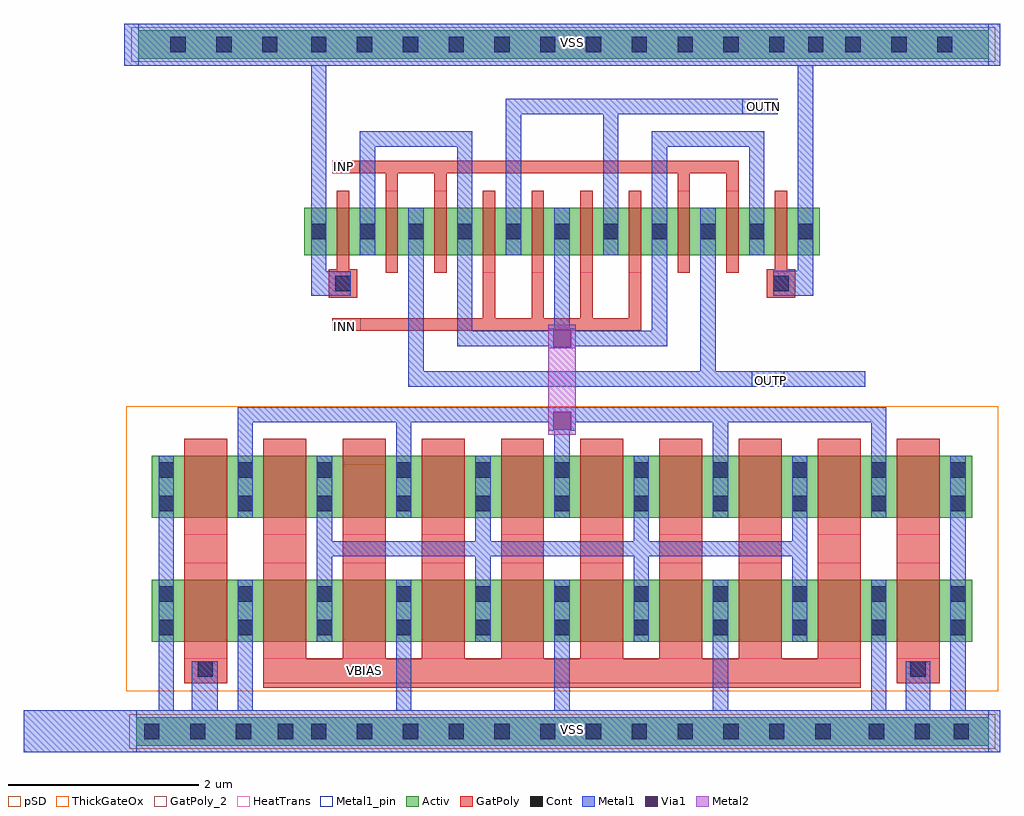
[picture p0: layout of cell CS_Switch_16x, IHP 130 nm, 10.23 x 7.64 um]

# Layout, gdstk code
import gdstk
lib = gdstk.Library(unit=1e-6, precision=1e-09)
def R(c, l, rs):  # rectangles x0, y0, x1, y1
    for r in rs: c.add(gdstk.rectangle(r[:2], r[2:], *l))
def A(c, l, x, y, w, h, nx, ny, dx, dy):  # array of equal rectangles
    R(c, l, [(x+i*dx, y+j*dy, x+i*dx+w, y+j*dy+h) for i in range(nx) for j in range(ny)])
def P(c, l, *ps):  # polygons
    for p in ps: c.add(gdstk.Polygon(p, *l))
Activ = (1, 0)
GatPoly = (5, 0)
GatPoly_2 = (5, 2)
Cont = (6, 0)
Metal1 = (8, 0)
Metal1_pin = (8, 2)
Metal2 = (10, 0)
pSD = (14, 0)
Via1 = (19, 0)
ThickGateOx = (44, 0)
HeatTrans = (51, 0)

nmos = lib.new_cell('nmos')
A(nmos, Activ, 0, 0, 0.3, 0.3, 3, 1, 0.51, 0)
R(nmos, Activ, [(0,0,1.32,0.5)])
R(nmos, GatPoly, [(0.34,-0.18,0.47,0.68), (0.85,-0.18,0.98,0.68)])
R(nmos, GatPoly_2, [(0.34,-0.18,0.47,0.68)])
A(nmos, Cont, 0.07, 0.17, 0.16, 0.16, 3, 1, 0.51, 0)
A(nmos, Metal1, 0.07, 0, 0.16, 0.5, 3, 1, 0.51, 0)
R(nmos, Metal1_pin, [(0.07,0,0.23,0.5), (0.58,0,0.74,0.5)])
R(nmos, HeatTrans, [(0.34,-0.18,0.47,0.68), (0.85,-0.18,0.98,0.68)])
nmos.add(gdstk.Label('nmos', (0.405,0.25), layer=63, texttype=0))
nmos.add(gdstk.Label('nmos', (0.405,0.25), layer=51, texttype=0))
nmos.add(gdstk.Label('nmos', (0.915,0.25), layer=51, texttype=0))

nmos_1 = lib.new_cell('nmos$1')
R(nmos_1, Activ, [(0,0,0.3,0.3), (0,0,0.81,0.5), (0.51,0,0.81,0.3)])
R(nmos_1, GatPoly, [(0.34,-0.18,0.47,0.68)])
R(nmos_1, GatPoly_2, [(0.34,-0.18,0.47,0.68)])
R(nmos_1, Cont, [(0.07,0.17,0.23,0.33), (0.58,0.17,0.74,0.33)])
R(nmos_1, Metal1, [(0.07,0,0.23,0.5), (0.58,0,0.74,0.5)])
R(nmos_1, Metal1_pin, [(0.07,0,0.23,0.5), (0.58,0,0.74,0.5)])
R(nmos_1, HeatTrans, [(0.34,-0.18,0.47,0.68)])
nmos_1.add(gdstk.Label('nmos', (0.405,0.25), layer=63, texttype=0))
nmos_1.add(gdstk.Label('nmos', (0.405,0.25), layer=51, texttype=0))

via_stack = lib.new_cell('via_stack')
R(via_stack, Metal1, [(-0.145,-0.105,0.145,0.105)])
R(via_stack, Metal2, [(-0.145,-0.1,0.145,0.1)])
R(via_stack, Via1, [(-0.095,-0.095,0.095,0.095)])

nmoshv_1 = lib.new_cell('nmosHV$1')
A(nmoshv_1, Activ, 0, 0, 0.3, 0.3, 9, 1, 0.83, 0)
R(nmoshv_1, Activ, [(0,0,6.94,0.65)])
A(nmoshv_1, GatPoly, 0.34, -0.18, 0.45, 1.01, 8, 1, 0.83, 0)
R(nmoshv_1, GatPoly_2, [(0.34,-0.18,0.79,0.83)])
A(nmoshv_1, Cont, 0.07, 0.07, 0.16, 0.16, 9, 2, 0.83, 0.35)
A(nmoshv_1, Metal1, 0.07, 0, 0.16, 0.65, 9, 1, 0.83, 0)
R(nmoshv_1, Metal1_pin, [(0.07,0,0.23,0.65), (0.9,0,1.06,0.65)])
R(nmoshv_1, ThickGateOx, [(-0.27,-0.52,7.21,1.17)])
A(nmoshv_1, HeatTrans, 0.34, -0.18, 0.45, 1.01, 8, 1, 0.83, 0)
nmoshv_1.add(gdstk.Label('nmosHV', (0.565,0.325), layer=63, texttype=0))
nmoshv_1.add(gdstk.Label('nmosHV', (0.565,0.325), layer=51, texttype=0))
nmoshv_1.add(gdstk.Label('nmosHV', (1.395,0.325), layer=51, texttype=0))
nmoshv_1.add(gdstk.Label('nmosHV', (2.225,0.325), layer=51, texttype=0))
nmoshv_1.add(gdstk.Label('nmosHV', (3.055,0.325), layer=51, texttype=0))
nmoshv_1.add(gdstk.Label('nmosHV', (3.885,0.325), layer=51, texttype=0))
nmoshv_1.add(gdstk.Label('nmosHV', (4.715,0.325), layer=51, texttype=0))
nmoshv_1.add(gdstk.Label('nmosHV', (5.545,0.325), layer=51, texttype=0))
nmoshv_1.add(gdstk.Label('nmosHV', (6.375,0.325), layer=51, texttype=0))

nmoshv = lib.new_cell('nmosHV')
R(nmoshv, Activ, [(0,0,0.3,0.3), (0,0,1.13,0.65), (0.83,0,1.13,0.3)])
R(nmoshv, GatPoly, [(0.34,-0.18,0.79,0.83)])
R(nmoshv, GatPoly_2, [(0.34,-0.18,0.79,0.83)])
R(nmoshv, Cont, [(0.07,0.07,0.23,0.23), (0.9,0.07,1.06,0.23), (0.07,0.42,0.23,0.58), (0.9,0.42,1.06,0.58)])
R(nmoshv, Metal1, [(0.07,0,0.23,0.65), (0.9,0,1.06,0.65)])
R(nmoshv, Metal1_pin, [(0.07,0,0.23,0.65), (0.9,0,1.06,0.65)])
R(nmoshv, ThickGateOx, [(-0.27,-0.52,1.4,1.17)])
R(nmoshv, HeatTrans, [(0.34,-0.18,0.79,0.83)])
nmoshv.add(gdstk.Label('nmosHV', (0.565,0.325), layer=63, texttype=0))
nmoshv.add(gdstk.Label('nmosHV', (0.565,0.325), layer=51, texttype=0))

cs_switch_16x = lib.new_cell('CS_Switch_16x')
R(cs_switch_16x, Activ, [(3.495,14.81,12.43,15.11), (3.495,14.81,12.43,15.11), (3.495,14.81,12.43,15.11), (3.495,14.81,12.43,15.11), (3.515,22.01,12.43,22.31), (3.515,22.01,12.43,22.31), (3.515,22.01,12.43,22.31), (3.515,22.01,12.43,22.31)])
R(cs_switch_16x, GatPoly, [(4.83,15.42,5.66,15.72), (5.66,15.42,11.09,15.72), (4,15.465,4.45,18.03), (4,15.465,4.45,18.03), (4,15.465,4.45,18.03), (4,15.465,4.45,18.03), (4.83,15.465,5.66,15.72), (4.83,15.465,5.66,15.72), (4.83,15.465,5.66,15.72), (5.66,15.465,11.09,15.72), (5.66,15.465,11.09,15.72), (5.66,15.465,11.09,15.72), (11.47,15.465,11.92,18.03), (11.47,15.465,11.92,18.03), (11.47,15.465,11.92,18.03), (11.47,15.465,11.92,18.03), (4,15.52,4.45,15.72), (4,15.52,4.45,15.72), (4,15.52,4.45,15.72), (4,15.52,4.45,15.72), (4.83,15.52,5.28,17.755), (4.83,15.52,5.28,17.755), (4.83,15.52,5.28,17.755), (4.83,15.52,5.28,17.755), (5.66,15.52,6.11,17.76), (5.66,15.52,6.11,17.76), (5.66,15.52,6.11,17.76), (5.66,15.52,6.11,17.76), (6.49,15.52,6.94,17.755), (6.49,15.52,6.94,17.755), (6.49,15.52,6.94,17.755), (6.49,15.52,6.94,17.755), (7.32,15.52,7.77,17.755), (7.32,15.52,7.77,17.755), (7.32,15.52,7.77,17.755), (7.32,15.52,7.77,17.755), (8.15,15.52,8.6,17.755), (8.15,15.52,8.6,17.755), (8.15,15.52,8.6,17.755), (8.15,15.52,8.6,17.755), (8.98,15.52,9.43,17.755), (8.98,15.52,9.43,17.755), (8.98,15.52,9.43,17.755), (8.98,15.52,9.43,17.755), (9.81,15.52,10.26,17.755), (9.81,15.52,10.26,17.755), (9.81,15.52,10.26,17.755), (9.81,15.52,10.26,17.755), (10.64,15.52,11.09,17.755), (10.64,15.52,11.09,17.755), (10.64,15.52,11.09,17.755), (10.64,15.52,11.09,17.755), (11.47,15.52,11.92,15.72), (11.47,15.52,11.92,15.72), (11.47,15.52,11.92,15.72), (11.47,15.52,11.92,15.72), (5.55,19.16,8.79,19.29), (5.55,19.16,8.79,19.29), (5.55,19.16,8.79,19.29), (5.55,19.16,8.79,19.29), (7.13,19.205,7.26,19.77), (7.13,19.205,7.26,19.77), (7.13,19.205,7.26,19.77), (7.13,19.205,7.26,19.77), (8.66,19.215,8.79,19.77), (8.66,19.215,8.79,19.77), (8.66,19.215,8.79,19.77), (8.66,19.215,8.79,19.77), (7.64,19.235,7.77,19.77), (7.64,19.235,7.77,19.77), (7.64,19.235,7.77,19.77), (7.64,19.235,7.77,19.77), (8.15,19.245,8.28,19.77), (8.15,19.245,8.28,19.77), (8.15,19.245,8.28,19.77), (8.15,19.245,8.28,19.77), (5.515,19.505,5.815,19.805), (5.515,19.505,5.815,19.805), (5.515,19.505,5.815,19.805), (5.515,19.505,5.815,19.805), (10.105,19.505,10.405,19.805), (10.105,19.505,10.405,19.805), (10.105,19.505,10.405,19.805), (10.105,19.505,10.405,19.805), (6.11,20.63,6.24,20.94), (6.11,20.63,6.24,20.94), (6.11,20.63,6.24,20.94), (6.11,20.63,6.24,20.94), (6.62,20.63,6.75,20.94), (6.62,20.63,6.75,20.94), (6.62,20.63,6.75,20.94), (6.62,20.63,6.75,20.94), (9.17,20.63,9.3,20.94), (9.17,20.63,9.3,20.94), (9.17,20.63,9.3,20.94), (9.17,20.63,9.3,20.94), (9.68,20.63,9.81,20.94), (9.68,20.63,9.81,20.94), (9.68,20.63,9.81,20.94), (9.68,20.63,9.81,20.94), (5.55,20.81,9.17,20.94), (5.55,20.81,9.17,20.94), (5.55,20.81,9.17,20.94), (5.55,20.81,9.17,20.94), (9.17,20.81,9.81,20.94), (9.17,20.81,9.81,20.94), (9.17,20.81,9.81,20.94), (9.17,20.81,9.81,20.94)])
R(cs_switch_16x, GatPoly_2, [(4.83,15.465,11.09,15.725), (5.66,15.52,6.11,17.76), (5.66,15.52,6.11,17.76), (5.66,15.52,6.11,17.76), (5.55,19.16,5.85,19.29), (5.55,19.16,5.85,19.29), (5.55,19.16,5.85,19.29), (5.55,19.16,5.85,19.29), (5.55,20.81,5.84,20.94), (5.55,20.81,5.84,20.94), (5.55,20.81,5.84,20.94), (5.55,20.81,5.84,20.94)])
R(cs_switch_16x, Cont, [(3.58,14.88,3.74,15.04), (3.58,14.88,3.74,15.04), (3.58,14.88,3.74,15.04), (3.58,14.88,3.74,15.04), (3.58,14.88,3.74,15.04), (3.58,14.88,3.74,15.04), (3.58,14.88,3.74,15.04), (3.58,14.88,3.74,15.04), (4.06,14.88,4.22,15.04), (4.06,14.88,4.22,15.04), (4.06,14.88,4.22,15.04), (4.06,14.88,4.22,15.04), (4.06,14.88,4.22,15.04), (4.06,14.88,4.22,15.04), (4.06,14.88,4.22,15.04), (4.06,14.88,4.22,15.04), (4.54,14.88,4.7,15.04), (4.54,14.88,4.7,15.04), (4.54,14.88,4.7,15.04), (4.54,14.88,4.7,15.04), (4.54,14.88,4.7,15.04), (4.54,14.88,4.7,15.04), (4.54,14.88,4.7,15.04), (4.54,14.88,4.7,15.04), (4.98,14.88,5.14,15.04), (4.98,14.88,5.14,15.04), (4.98,14.88,5.14,15.04), (4.98,14.88,5.14,15.04), (4.98,14.88,5.14,15.04), (4.98,14.88,5.14,15.04), (4.98,14.88,5.14,15.04), (4.98,14.88,5.14,15.04), (5.33,14.88,5.49,15.04), (5.33,14.88,5.49,15.04), (5.33,14.88,5.49,15.04), (5.33,14.88,5.49,15.04), (5.33,14.88,5.49,15.04), (5.33,14.88,5.49,15.04), (5.33,14.88,5.49,15.04), (5.33,14.88,5.49,15.04), (5.81,14.88,5.97,15.04), (5.81,14.88,5.97,15.04), (5.81,14.88,5.97,15.04), (5.81,14.88,5.97,15.04), (5.81,14.88,5.97,15.04), (5.81,14.88,5.97,15.04), (5.81,14.88,5.97,15.04), (5.81,14.88,5.97,15.04), (6.29,14.88,6.45,15.04), (6.29,14.88,6.45,15.04), (6.29,14.88,6.45,15.04), (6.29,14.88,6.45,15.04), (6.29,14.88,6.45,15.04), (6.29,14.88,6.45,15.04), (6.29,14.88,6.45,15.04), (6.29,14.88,6.45,15.04), (6.77,14.88,6.93,15.04), (6.77,14.88,6.93,15.04), (6.77,14.88,6.93,15.04), (6.77,14.88,6.93,15.04), (6.77,14.88,6.93,15.04), (6.77,14.88,6.93,15.04), (6.77,14.88,6.93,15.04), (6.77,14.88,6.93,15.04), (7.25,14.88,7.41,15.04), (7.25,14.88,7.41,15.04), (7.25,14.88,7.41,15.04), (7.25,14.88,7.41,15.04), (7.25,14.88,7.41,15.04), (7.25,14.88,7.41,15.04), (7.25,14.88,7.41,15.04), (7.25,14.88,7.41,15.04), (7.73,14.88,7.89,15.04), (7.73,14.88,7.89,15.04), (7.73,14.88,7.89,15.04), (7.73,14.88,7.89,15.04), (7.73,14.88,7.89,15.04), (7.73,14.88,7.89,15.04), (7.73,14.88,7.89,15.04), (7.73,14.88,7.89,15.04), (8.21,14.88,8.37,15.04), (8.21,14.88,8.37,15.04), (8.21,14.88,8.37,15.04), (8.21,14.88,8.37,15.04), (8.21,14.88,8.37,15.04), (8.21,14.88,8.37,15.04), (8.21,14.88,8.37,15.04), (8.21,14.88,8.37,15.04), (8.69,14.88,8.85,15.04), (8.69,14.88,8.85,15.04), (8.69,14.88,8.85,15.04), (8.69,14.88,8.85,15.04), (8.69,14.88,8.85,15.04), (8.69,14.88,8.85,15.04), (8.69,14.88,8.85,15.04), (8.69,14.88,8.85,15.04), (9.17,14.88,9.33,15.04), (9.17,14.88,9.33,15.04), (9.17,14.88,9.33,15.04), (9.17,14.88,9.33,15.04), (9.17,14.88,9.33,15.04), (9.17,14.88,9.33,15.04), (9.17,14.88,9.33,15.04), (9.17,14.88,9.33,15.04), (9.65,14.88,9.81,15.04), (9.65,14.88,9.81,15.04), (9.65,14.88,9.81,15.04), (9.65,14.88,9.81,15.04), (9.65,14.88,9.81,15.04), (9.65,14.88,9.81,15.04), (9.65,14.88,9.81,15.04), (9.65,14.88,9.81,15.04), (10.13,14.88,10.29,15.04), (10.13,14.88,10.29,15.04), (10.13,14.88,10.29,15.04), (10.13,14.88,10.29,15.04), (10.13,14.88,10.29,15.04), (10.13,14.88,10.29,15.04), (10.13,14.88,10.29,15.04), (10.13,14.88,10.29,15.04), (10.615,14.88,10.775,15.04), (10.615,14.88,10.775,15.04), (10.615,14.88,10.775,15.04), (10.615,14.88,10.775,15.04), (10.615,14.88,10.775,15.04), (10.615,14.88,10.775,15.04), (10.615,14.88,10.775,15.04), (10.615,14.88,10.775,15.04), (11.175,14.88,11.335,15.04), (11.175,14.88,11.335,15.04), (11.175,14.88,11.335,15.04), (11.175,14.88,11.335,15.04), (11.175,14.88,11.335,15.04), (11.175,14.88,11.335,15.04), (11.175,14.88,11.335,15.04), (11.175,14.88,11.335,15.04), (11.655,14.88,11.815,15.04), (11.655,14.88,11.815,15.04), (11.655,14.88,11.815,15.04), (11.655,14.88,11.815,15.04), (11.655,14.88,11.815,15.04), (11.655,14.88,11.815,15.04), (11.655,14.88,11.815,15.04), (11.655,14.88,11.815,15.04), (12.065,14.88,12.225,15.04), (12.065,14.88,12.225,15.04), (12.065,14.88,12.225,15.04), (12.065,14.88,12.225,15.04), (12.065,14.88,12.225,15.04), (12.065,14.88,12.225,15.04), (12.065,14.88,12.225,15.04), (12.065,14.88,12.225,15.04), (4.14,15.535,4.3,15.695), (4.14,15.535,4.3,15.695), (4.14,15.535,4.3,15.695), (4.14,15.535,4.3,15.695), (11.61,15.535,11.77,15.695), (11.61,15.535,11.77,15.695), (11.61,15.535,11.77,15.695), (11.61,15.535,11.77,15.695), (5.585,19.575,5.745,19.735), (5.585,19.575,5.745,19.735), (5.585,19.575,5.745,19.735), (5.585,19.575,5.745,19.735), (10.175,19.575,10.335,19.735), (10.175,19.575,10.335,19.735), (10.175,19.575,10.335,19.735), (10.175,19.575,10.335,19.735), (3.855,22.08,4.015,22.24), (3.855,22.08,4.015,22.24), (3.855,22.08,4.015,22.24), (3.855,22.08,4.015,22.24), (3.855,22.08,4.015,22.24), (3.855,22.08,4.015,22.24), (3.855,22.08,4.015,22.24), (3.855,22.08,4.015,22.24), (4.335,22.08,4.495,22.24), (4.335,22.08,4.495,22.24), (4.335,22.08,4.495,22.24), (4.335,22.08,4.495,22.24), (4.335,22.08,4.495,22.24), (4.335,22.08,4.495,22.24), (4.335,22.08,4.495,22.24), (4.335,22.08,4.495,22.24), (4.815,22.08,4.975,22.24), (4.815,22.08,4.975,22.24), (4.815,22.08,4.975,22.24), (4.815,22.08,4.975,22.24), (4.815,22.08,4.975,22.24), (4.815,22.08,4.975,22.24), (4.815,22.08,4.975,22.24), (4.815,22.08,4.975,22.24), (5.33,22.08,5.49,22.24), (5.33,22.08,5.49,22.24), (5.33,22.08,5.49,22.24), (5.33,22.08,5.49,22.24), (5.33,22.08,5.49,22.24), (5.33,22.08,5.49,22.24), (5.33,22.08,5.49,22.24), (5.33,22.08,5.49,22.24), (5.81,22.08,5.97,22.24), (5.81,22.08,5.97,22.24), (5.81,22.08,5.97,22.24), (5.81,22.08,5.97,22.24), (5.81,22.08,5.97,22.24), (5.81,22.08,5.97,22.24), (5.81,22.08,5.97,22.24), (5.81,22.08,5.97,22.24), (6.29,22.08,6.45,22.24), (6.29,22.08,6.45,22.24), (6.29,22.08,6.45,22.24), (6.29,22.08,6.45,22.24), (6.29,22.08,6.45,22.24), (6.29,22.08,6.45,22.24), (6.29,22.08,6.45,22.24), (6.29,22.08,6.45,22.24), (6.77,22.08,6.93,22.24), (6.77,22.08,6.93,22.24), (6.77,22.08,6.93,22.24), (6.77,22.08,6.93,22.24), (6.77,22.08,6.93,22.24), (6.77,22.08,6.93,22.24), (6.77,22.08,6.93,22.24), (6.77,22.08,6.93,22.24), (7.25,22.08,7.41,22.24), (7.25,22.08,7.41,22.24), (7.25,22.08,7.41,22.24), (7.25,22.08,7.41,22.24), (7.25,22.08,7.41,22.24), (7.25,22.08,7.41,22.24), (7.25,22.08,7.41,22.24), (7.25,22.08,7.41,22.24), (7.73,22.08,7.89,22.24), (7.73,22.08,7.89,22.24), (7.73,22.08,7.89,22.24), (7.73,22.08,7.89,22.24), (7.73,22.08,7.89,22.24), (7.73,22.08,7.89,22.24), (7.73,22.08,7.89,22.24), (7.73,22.08,7.89,22.24), (8.21,22.08,8.37,22.24), (8.21,22.08,8.37,22.24), (8.21,22.08,8.37,22.24), (8.21,22.08,8.37,22.24), (8.21,22.08,8.37,22.24), (8.21,22.08,8.37,22.24), (8.21,22.08,8.37,22.24), (8.21,22.08,8.37,22.24), (8.69,22.08,8.85,22.24), (8.69,22.08,8.85,22.24), (8.69,22.08,8.85,22.24), (8.69,22.08,8.85,22.24), (8.69,22.08,8.85,22.24), (8.69,22.08,8.85,22.24), (8.69,22.08,8.85,22.24), (8.69,22.08,8.85,22.24), (9.17,22.08,9.33,22.24), (9.17,22.08,9.33,22.24), (9.17,22.08,9.33,22.24), (9.17,22.08,9.33,22.24), (9.17,22.08,9.33,22.24), (9.17,22.08,9.33,22.24), (9.17,22.08,9.33,22.24), (9.17,22.08,9.33,22.24), (9.65,22.08,9.81,22.24), (9.65,22.08,9.81,22.24), (9.65,22.08,9.81,22.24), (9.65,22.08,9.81,22.24), (9.65,22.08,9.81,22.24), (9.65,22.08,9.81,22.24), (9.65,22.08,9.81,22.24), (9.65,22.08,9.81,22.24), (10.13,22.08,10.29,22.24), (10.13,22.08,10.29,22.24), (10.13,22.08,10.29,22.24), (10.13,22.08,10.29,22.24), (10.13,22.08,10.29,22.24), (10.13,22.08,10.29,22.24), (10.13,22.08,10.29,22.24), (10.13,22.08,10.29,22.24), (10.54,22.08,10.7,22.24), (10.54,22.08,10.7,22.24), (10.54,22.08,10.7,22.24), (10.54,22.08,10.7,22.24), (10.54,22.08,10.7,22.24), (10.54,22.08,10.7,22.24), (10.54,22.08,10.7,22.24), (10.54,22.08,10.7,22.24), (10.93,22.08,11.09,22.24), (10.93,22.08,11.09,22.24), (10.93,22.08,11.09,22.24), (10.93,22.08,11.09,22.24), (10.93,22.08,11.09,22.24), (10.93,22.08,11.09,22.24), (10.93,22.08,11.09,22.24), (10.93,22.08,11.09,22.24), (11.41,22.08,11.57,22.24), (11.41,22.08,11.57,22.24), (11.41,22.08,11.57,22.24), (11.41,22.08,11.57,22.24), (11.41,22.08,11.57,22.24), (11.41,22.08,11.57,22.24), (11.41,22.08,11.57,22.24), (11.41,22.08,11.57,22.24), (11.89,22.08,12.05,22.24), (11.89,22.08,12.05,22.24), (11.89,22.08,12.05,22.24), (11.89,22.08,12.05,22.24), (11.89,22.08,12.05,22.24), (11.89,22.08,12.05,22.24), (11.89,22.08,12.05,22.24), (11.89,22.08,12.05,22.24)])
R(cs_switch_16x, Metal1, [(4.97,14.74,10.95,15.18), (4.97,14.74,10.95,15.18), (4.97,14.74,10.95,15.18), (4.97,14.74,10.95,15.18), (4.08,14.865,4.35,15.695), (4.08,14.865,4.35,15.695), (4.08,14.865,4.35,15.695), (4.08,14.865,4.35,15.695), (4.56,14.865,4.72,15.9), (4.56,14.865,4.72,15.9), (4.56,14.865,4.72,15.9), (4.56,14.865,4.72,15.9), (6.22,14.865,6.38,15.9), (6.22,14.865,6.38,15.9), (6.22,14.865,6.38,15.9), (6.22,14.865,6.38,15.9), (7.88,14.865,8.04,15.9), (7.88,14.865,8.04,15.9), (7.88,14.865,8.04,15.9), (7.88,14.865,8.04,15.9), (9.54,14.865,9.7,15.9), (9.54,14.865,9.7,15.9), (9.54,14.865,9.7,15.9), (9.54,14.865,9.7,15.9), (11.2,14.865,11.36,15.9), (11.2,14.865,11.36,15.9), (11.2,14.865,11.36,15.9), (11.2,14.865,11.36,15.9), (11.56,14.865,11.82,15.695), (11.56,14.865,11.82,15.695), (11.56,14.865,11.82,15.695), (11.56,14.865,11.82,15.695), (5.39,15.9,5.55,17.2), (5.39,15.9,5.55,17.2), (5.39,15.9,5.55,17.2), (5.39,15.9,5.55,17.2), (7.05,15.9,7.21,17.2), (7.05,15.9,7.21,17.2), (7.05,15.9,7.21,17.2), (7.05,15.9,7.21,17.2), (8.71,15.9,8.87,17.2), (8.71,15.9,8.87,17.2), (8.71,15.9,8.87,17.2), (8.71,15.9,8.87,17.2), (10.37,15.9,10.53,17.2), (10.37,15.9,10.53,17.2), (10.37,15.9,10.53,17.2), (10.37,15.9,10.53,17.2), (5.39,16.795,10.53,16.955), (5.39,16.795,10.53,16.955), (5.39,16.795,10.53,16.955), (5.39,16.795,10.53,16.955), (4.56,17.575,4.72,18.36), (4.56,17.575,4.72,18.36), (4.56,17.575,4.72,18.36), (4.56,17.575,4.72,18.36), (6.22,17.575,6.38,18.36), (6.22,17.575,6.38,18.36), (6.22,17.575,6.38,18.36), (6.22,17.575,6.38,18.36), (7.88,17.575,8.04,18.36), (7.88,17.575,8.04,18.36), (7.88,17.575,8.04,18.36), (7.88,17.575,8.04,18.36), (9.54,17.575,9.7,18.36), (9.54,17.575,9.7,18.36), (9.54,17.575,9.7,18.36), (9.54,17.575,9.7,18.36), (11.2,17.575,11.36,18.36), (11.2,17.575,11.36,18.36), (11.2,17.575,11.36,18.36), (11.2,17.575,11.36,18.36), (4.56,18.2,11.36,18.36), (4.56,18.2,11.36,18.36), (4.56,18.2,11.36,18.36), (4.56,18.2,11.36,18.36), (6.35,18.575,11.135,18.735), (6.35,18.575,10.29,18.735), (6.35,18.575,10.29,18.735), (6.35,18.575,10.29,18.735), (6.35,18.735,6.51,19.95), (6.35,18.735,6.51,19.95), (6.35,18.735,6.51,19.95), (6.35,18.735,6.51,19.95), (9.41,18.735,9.57,19.95), (9.41,18.735,9.57,19.95), (9.41,18.735,9.57,19.95), (9.41,18.735,9.57,19.95), (6.86,19,9.06,19.16), (6.86,19,9.06,19.16), (6.86,19,9.06,19.16), (6.86,19,9.06,19.16), (6.86,19,7.02,19.95), (6.86,19,7.02,19.95), (6.86,19,7.02,19.95), (6.86,19,7.02,19.95), (8.9,19,9.06,19.95), (8.9,19,9.06,19.95), (8.9,19,9.06,19.95), (8.9,19,9.06,19.95), (7.88,19.16,8.04,19.95), (7.88,19.16,8.04,19.95), (7.88,19.16,8.04,19.95), (7.88,19.16,8.04,19.95), (5.33,19.525,5.745,19.785), (5.33,19.525,5.745,19.785), (5.33,19.525,5.745,19.785), (5.33,19.525,5.745,19.785), (10.175,19.525,10.59,19.79), (10.175,19.525,10.59,19.79), (10.175,19.525,10.59,19.79), (10.175,19.525,10.59,19.79), (5.33,19.6,5.49,19.95), (5.33,19.6,5.49,19.95), (5.33,19.6,5.49,19.95), (5.33,19.6,5.49,19.95), (10.43,19.6,10.59,19.95), (10.43,19.6,10.59,19.95), (10.43,19.6,10.59,19.95), (10.43,19.6,10.59,19.95), (5.33,20.45,5.49,22.38), (5.33,20.45,5.49,22.38), (5.33,20.45,5.49,22.38), (5.33,20.45,5.49,22.38), (5.84,20.45,6,21.09), (5.84,20.45,6,21.09), (5.84,20.45,6,21.09), (5.84,20.45,6,21.09), (6.86,20.45,7.02,21.09), (6.86,20.45,7.02,21.09), (6.86,20.45,7.02,21.09), (6.86,20.45,7.02,21.09), (7.37,20.45,7.53,21.43), (7.37,20.45,7.53,21.43), (7.37,20.45,7.53,21.43), (7.37,20.45,7.53,21.43), (8.39,20.45,8.55,21.43), (8.39,20.45,8.55,21.43), (8.39,20.45,8.55,21.43), (8.39,20.45,8.55,21.43), (8.9,20.45,9.06,21.09), (8.9,20.45,9.06,21.09), (8.9,20.45,9.06,21.09), (8.9,20.45,9.06,21.09), (9.92,20.45,10.08,21.09), (9.92,20.45,10.08,21.09), (9.92,20.45,10.08,21.09), (9.92,20.45,10.08,21.09), (10.43,20.45,10.59,22.38), (10.43,20.45,10.59,22.38), (10.43,20.45,10.59,22.38), (10.43,20.45,10.59,22.38), (5.84,21.09,7.02,21.25), (5.84,21.09,7.02,21.25), (5.84,21.09,7.02,21.25), (5.84,21.09,7.02,21.25), (8.9,21.09,10.08,21.25), (8.9,21.09,10.08,21.25), (8.9,21.09,10.08,21.25), (8.9,21.09,10.08,21.25), (7.37,21.43,10.22,21.59), (7.37,21.43,10.22,21.59), (7.37,21.43,10.22,21.59), (7.37,21.43,10.22,21.59), (3.37,21.94,12.55,22.38), (3.37,21.94,12.55,22.38), (3.37,21.94,12.55,22.38), (3.37,21.94,12.55,22.38)])
P(cs_switch_16x, Metal1, [(2.32,14.74),(2.32,15.18),(3.73,15.18),(3.73,17.85),(3.89,17.85),(3.89,15.18),(12.03,15.18),(12.03,17.85),(12.19,17.85),(12.19,15.18),(12.55,15.18),(12.55,14.74)],
  [(3.05,14.74),(3.05,15.18),(3.73,15.18),(3.73,17.85),(3.89,17.85),(3.89,15.18),(12.03,15.18),(12.03,17.85),(12.19,17.85),(12.19,15.18),(12.55,15.18),(12.55,14.74)],
  [(3.37,14.74),(3.37,15.18),(3.73,15.18),(3.73,17.85),(3.89,17.85),(3.89,15.18),(12.03,15.18),(12.03,17.85),(12.19,17.85),(12.19,15.18),(12.55,15.18),(12.55,14.74)],
  [(3.37,14.74),(3.37,15.18),(3.73,15.18),(3.73,17.85),(3.89,17.85),(3.89,15.18),(12.03,15.18),(12.03,17.85),(12.19,17.85),(12.19,15.18),(12.55,15.18),(12.55,14.74)])
R(cs_switch_16x, Metal1_pin, [(3.495,14.74,12.43,15.18), (3.495,14.74,12.43,15.18), (3.495,14.74,12.43,15.18), (3.495,14.74,12.43,15.18), (9.95,18.575,10.29,18.735), (9.95,18.575,10.29,18.735), (9.95,18.575,10.29,18.735), (9.95,18.575,10.29,18.735), (9.85,21.43,10.22,21.59), (9.85,21.43,10.22,21.59), (9.85,21.43,10.22,21.59), (9.85,21.43,10.22,21.59), (3.515,21.94,12.43,22.38), (3.515,21.94,12.43,22.38), (3.515,21.94,12.43,22.38), (3.515,21.94,12.43,22.38)])
R(cs_switch_16x, Metal2, [(7.815,18.07,8.105,19.225), (7.815,18.07,8.105,19.225), (7.815,18.07,8.105,19.225), (7.815,18.07,8.105,19.225)])
R(cs_switch_16x, pSD, [(3.425,14.78,12.5,15.14), (3.425,14.78,12.5,15.14), (3.425,14.78,12.5,15.14), (3.425,14.78,12.5,15.14), (3.445,21.98,12.5,22.34), (3.445,21.98,12.5,22.34), (3.445,21.98,12.5,22.34), (3.445,21.98,12.5,22.34)])
cs_switch_16x.add(gdstk.Reference(nmos, (7.81,20.45), x_reflection=True))
cs_switch_16x.add(gdstk.Reference(nmos, (6.79,20.45), x_reflection=True))
cs_switch_16x.add(gdstk.Reference(nmos, (8.83,20.45), x_reflection=True))
cs_switch_16x.add(gdstk.Reference(nmos, (5.77,20.45), x_reflection=True))
cs_switch_16x.add(gdstk.Reference(nmos_1, (9.85,19.95)))
cs_switch_16x.add(gdstk.Reference(nmos_1, (5.26,19.95)))
cs_switch_16x.add(gdstk.Reference(via_stack, (7.96,19.08)))
cs_switch_16x.add(gdstk.Reference(via_stack, (7.96,18.215)))
cs_switch_16x.add(gdstk.Reference(nmoshv_1, (4.49,17.2)))
cs_switch_16x.add(gdstk.Reference(nmoshv_1, (4.49,15.9)))
cs_switch_16x.add(gdstk.Reference(nmoshv, (11.13,15.9)))
cs_switch_16x.add(gdstk.Reference(nmoshv, (11.13,17.2)))
cs_switch_16x.add(gdstk.Reference(nmoshv, (3.66,15.9)))
cs_switch_16x.add(gdstk.Reference(nmoshv, (3.66,17.2)))
cs_switch_16x.add(gdstk.Label('VSS', (8.07,14.98), layer=8, texttype=25))
cs_switch_16x.add(gdstk.Label('VSS', (8.07,22.18), layer=8, texttype=25))
cs_switch_16x.add(gdstk.Label('VSS', (8.07,14.98), layer=8, texttype=25))
cs_switch_16x.add(gdstk.Label('OUTP', (10.14,18.635), layer=8, texttype=25))
cs_switch_16x.add(gdstk.Label('VSS', (8.07,22.18), layer=8, texttype=25))
cs_switch_16x.add(gdstk.Label('OUTN', (10.07,21.51), layer=8, texttype=25))
cs_switch_16x.add(gdstk.Label('VSS', (8.07,14.98), layer=8, texttype=25))
cs_switch_16x.add(gdstk.Label('OUTP', (10.14,18.635), layer=8, texttype=25))
cs_switch_16x.add(gdstk.Label('VSS', (8.07,22.18), layer=8, texttype=25))
cs_switch_16x.add(gdstk.Label('OUTN', (10.07,21.51), layer=8, texttype=25))
cs_switch_16x.add(gdstk.Label('INP', (5.67,20.88), layer=5, texttype=1))
cs_switch_16x.add(gdstk.Label('VBIAS', (5.885,15.6), layer=5, texttype=1))
cs_switch_16x.add(gdstk.Label('INN', (5.68,19.2), layer=5, texttype=1))
cs_switch_16x.add(gdstk.Label('VBIAS', (5.885,15.6), layer=5, texttype=1))
cs_switch_16x.add(gdstk.Label('INN', (5.68,19.2), layer=5, texttype=1))
cs_switch_16x.add(gdstk.Label('VBIAS', (5.885,15.6), layer=5, texttype=1))
cs_switch_16x.add(gdstk.Label('INP', (5.67,20.88), layer=5, texttype=1))
cs_switch_16x.add(gdstk.Label('INN', (5.68,19.2), layer=5, texttype=1))
cs_switch_16x.add(gdstk.Label('VBIAS', (5.885,15.6), layer=5, texttype=1))
cs_switch_16x.add(gdstk.Label('INP', (5.67,20.88), layer=5, texttype=1))

lib.write_gds('CS_Switch_16x.gds')
